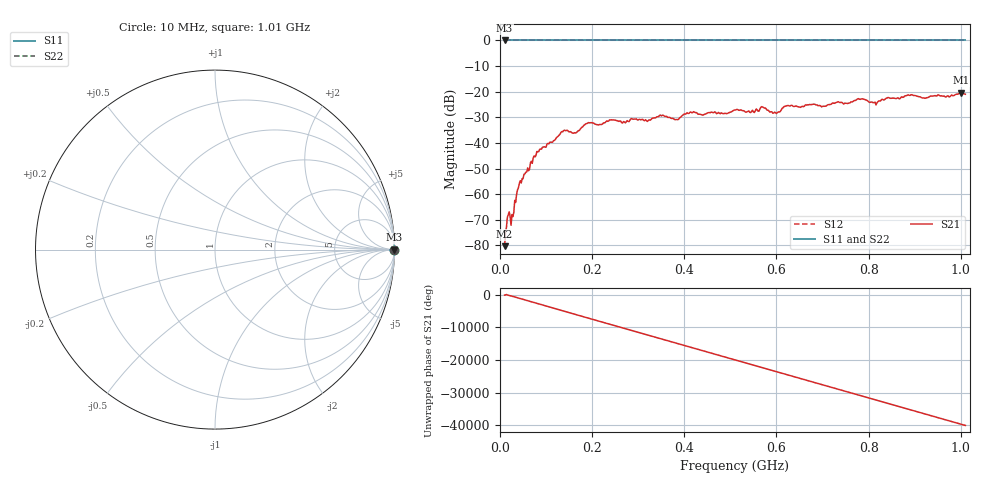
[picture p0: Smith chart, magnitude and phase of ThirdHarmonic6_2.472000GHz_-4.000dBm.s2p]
! 8/17/2025 4:33:11 AM
! C:\ANRITSUVNA\TEMP\TEMP.S2P
! CHANNEL.1
! TR.MEASUREMENT
! RAW.DATA
! RF.CORRECTION.OFF
! AVERAGING.OFF
! IF.BANDWIDTH: 5KHZ
! SWEEPTYPE:  FREQ.SWEEP(Linear)
! Reference Plane Port Info
! PORT:  PORT1  PORT2
! DISTANCE:  0  m  0  m
! TIME:  0  s  0  s
! PHASE.OFFSET:  0  deg.  0  deg.
! LOSS:  0  dB  0  dB
! REF.LOSS:  0  dB  0  dB
! REF.FREQ:  0  Hz  0  Hz
! Power Info
! POWER:  -20  dBm  -20  dBm
! EFF.POWER:  -20  dBm  -20  dBm
! SOURCE.ATTEN:  0  dB  0  dB
! TEST.ATTEN:  0  dB  0  dB
# GHZ S RI R 50.0
! FREQ.GHZ  S11RE  S11IM  S21RE  S21IM  S12RE  S12IM  S22RE  S22IM
!; PortSelection: Port_12
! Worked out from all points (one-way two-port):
!   501 points, 10 MHz to 1.01 GHz, reference 50 ohm
!   highest |S21| = -20.36 dB at 1 GHz (marker M1); lowest = -80.3 dB at 10 MHz (marker M2)
!   lowest |S11| = 0.0 dB at 10 MHz (marker M3)
!   |S11| at or under -10 dB: nowhere
!   |S22| runs from 0.0 to 0.0 dB; largest |S21 - S12| = 1.1
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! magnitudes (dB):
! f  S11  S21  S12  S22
! 10 MHz  0.0  -80.3  0.0  0.0
! 16 MHz  0.0  -69.1  0.0  0.0
! 26 MHz  0.0  -68.0  0.0  0.0
! 40 MHz  0.0  -57.5  0.0  0.0
! 76 MHz  0.0  -45.4  0.0  0.0
! 136 MHz  0.0  -35.7  0.0  0.0
! 162 MHz  0.0  -36.0  0.0  0.0
! 178 MHz  0.0  -33.9  0.0  0.0
! 344 MHz  0.0  -29.7  0.0  0.0
! 384 MHz  0.0  -30.9  0.0  0.0
! 416 MHz  0.0  -28.2  0.0  0.0
! 510 MHz  0.0  -27.1  0.0  0.0
! 548 MHz  0.0  -27.2  0.0  0.0
! 570 MHz  0.0  -26.0  0.0  0.0
! 596 MHz  0.0  -28.0  0.0  0.0
! 622 MHz  0.0  -25.5  0.0  0.0
! 678 MHz  0.0  -25.0  0.0  0.0
! 782 MHz  0.0  -23.0  0.0  0.0
! 814 MHz  0.0  -24.1  0.0  0.0
! 844 MHz  0.0  -22.3  0.0  0.0
! 1 GHz  0.0  -20.4  0.0  0.0
! 1.01 GHz  0.0  -21.0  0.0  0.0
